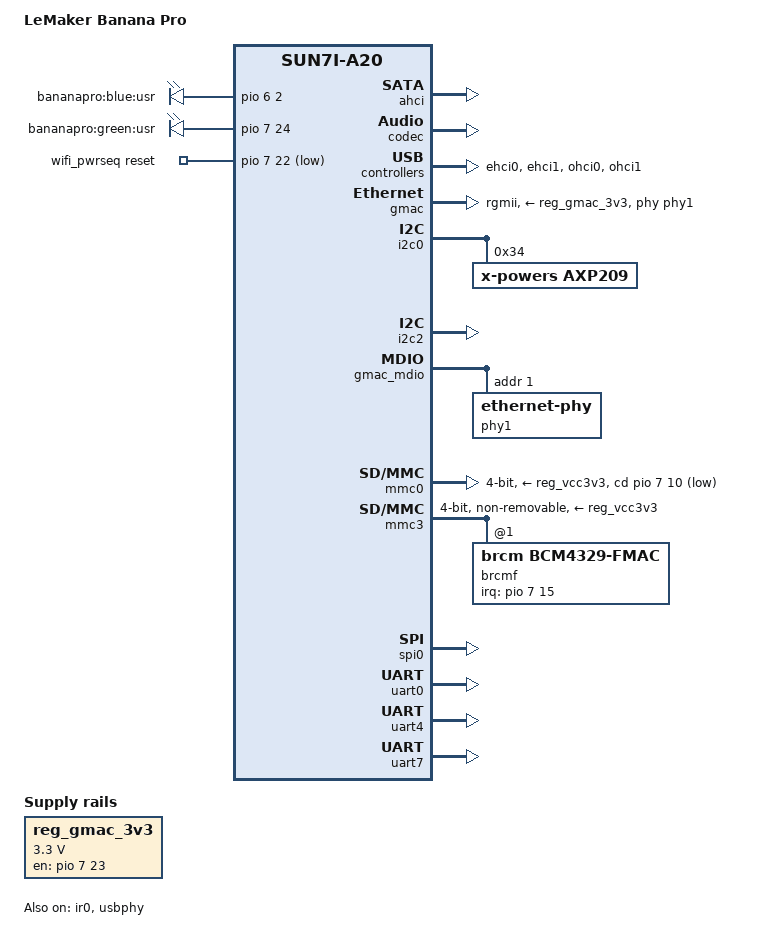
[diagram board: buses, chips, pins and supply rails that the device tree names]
/*
 * Copyright 2015 Hans de Goede <hdegoede@redhat.com>
 *
 * This file is dual-licensed: you can use it either under the terms
 * of the GPL or the X11 license, at your option. Note that this dual
 * licensing only applies to this file, and not this project as a
 * whole.
 *
 *  a) This file is free software; you can redistribute it and/or
 *     modify it under the terms of the GNU General Public License as
 *     published by the Free Software Foundation; either version 2 of the
 *     License, or (at your option) any later version.
 *
 *     This file is distributed in the hope that it will be useful,
 *     but WITHOUT ANY WARRANTY; without even the implied warranty of
 *     MERCHANTABILITY or FITNESS FOR A PARTICULAR PURPOSE.  See the
 *     GNU General Public License for more details.
 *
 * Or, alternatively,
 *
 *  b) Permission is hereby granted, free of charge, to any person
 *     obtaining a copy of this software and associated documentation
 *     files (the "Software"), to deal in the Software without
 *     restriction, including without limitation the rights to use,
 *     copy, modify, merge, publish, distribute, sublicense, and/or
 *     sell copies of the Software, and to permit persons to whom the
 *     Software is furnished to do so, subject to the following
 *     conditions:
 *
 *     The above copyright notice and this permission notice shall be
 *     included in all copies or substantial portions of the Software.
 *
 *     THE SOFTWARE IS PROVIDED "AS IS", WITHOUT WARRANTY OF ANY KIND,
 *     EXPRESS OR IMPLIED, INCLUDING BUT NOT LIMITED TO THE WARRANTIES
 *     OF MERCHANTABILITY, FITNESS FOR A PARTICULAR PURPOSE AND
 *     NONINFRINGEMENT. IN NO EVENT SHALL THE AUTHORS OR COPYRIGHT
 *     HOLDERS BE LIABLE FOR ANY CLAIM, DAMAGES OR OTHER LIABILITY,
 *     WHETHER IN AN ACTION OF CONTRACT, TORT OR OTHERWISE, ARISING
 *     FROM, OUT OF OR IN CONNECTION WITH THE SOFTWARE OR THE USE OR
 *     OTHER DEALINGS IN THE SOFTWARE.
 */

/dts-v1/;
#include "sun7i-a20.dtsi"
#include "sunxi-common-regulators.dtsi"
#include <dt-bindings/gpio/gpio.h>
#include <dt-bindings/interrupt-controller/arm-gic.h>

/ {
	model = "LeMaker Banana Pro";
	compatible = "lemaker,bananapro", "allwinner,sun7i-a20";

	aliases {
		serial0 = &uart0;
		serial1 = &uart4;
		serial2 = &uart7;
	};

	chosen {
		stdout-path = "serial0:115200n8";
	};

	leds {
		compatible = "gpio-leds";

		blue {
			label = "bananapro:blue:usr";
			gpios = <&pio 6 2 GPIO_ACTIVE_HIGH>;
		};

		green {
			label = "bananapro:green:usr";
			gpios = <&pio 7 24 GPIO_ACTIVE_HIGH>;
		};
	};

	wifi_pwrseq: wifi-pwrseq {
		compatible = "mmc-pwrseq-simple";
		reset-gpios = <&pio 7 22 GPIO_ACTIVE_LOW>;
	};

	reg_gmac_3v3: gmac-3v3 {
		compatible = "regulator-fixed";
		regulator-name = "gmac-3v3";
		regulator-min-microvolt = <3300000>;
		regulator-max-microvolt = <3300000>;
		startup-delay-us = <100000>;
		enable-active-high;
		gpio = <&pio 7 23 GPIO_ACTIVE_HIGH>;
	};
};

&ahci {
	status = "okay";
};

&codec {
	status = "okay";
};

&ehci0 {
	status = "okay";
};

&ehci1 {
	status = "okay";
};

&gmac {
	pinctrl-names = "default";
	pinctrl-0 = <&gmac_rgmii_pins>;
	phy-handle = <&phy1>;
	phy-mode = "rgmii";
	phy-supply = <&reg_gmac_3v3>;
	status = "okay";
};

&i2c0 {
	status = "okay";

	axp209: pmic@34 {
		compatible = "x-powers,axp209";
		reg = <0x34>;
		interrupt-parent = <&nmi_intc>;
		interrupts = <0 IRQ_TYPE_LEVEL_LOW>;

		interrupt-controller;
		#interrupt-cells = <1>;
	};
};

&i2c2 {
	status = "okay";
};

&ir0 {
	pinctrl-names = "default";
	pinctrl-0 = <&ir0_rx_pin>;
	status = "okay";
};

&gmac_mdio {
	phy1: ethernet-phy@1 {
		reg = <1>;
	};
};

&mmc0 {
	vmmc-supply = <&reg_vcc3v3>;
	bus-width = <4>;
	cd-gpios = <&pio 7 10 GPIO_ACTIVE_LOW>; /* PH10 */
	status = "okay";
};

&mmc3 {
	vmmc-supply = <&reg_vcc3v3>;
	mmc-pwrseq = <&wifi_pwrseq>;
	bus-width = <4>;
	non-removable;
	status = "okay";

	brcmf: wifi@1 {
		reg = <1>;
		compatible = "brcm,bcm4329-fmac";
		interrupt-parent = <&pio>;
		interrupts = <7 15 IRQ_TYPE_LEVEL_LOW>;
		interrupt-names = "host-wake";
	};
};

&ohci0 {
	status = "okay";
};

&ohci1 {
	status = "okay";
};

&reg_usb1_vbus {
	gpio = <&pio 7 0 GPIO_ACTIVE_HIGH>; /* PH0 */
	status = "okay";
};

&reg_usb2_vbus {
	gpio = <&pio 7 1 GPIO_ACTIVE_HIGH>; /* PH1 */
	status = "okay";
};

&spi0 {
	pinctrl-names = "default";
	pinctrl-0 = <&spi0_pi_pins>,
		    <&spi0_cs0_pi_pin>,
		    <&spi0_cs1_pi_pin>;
	status = "okay";
};

&uart0 {
	pinctrl-names = "default";
	pinctrl-0 = <&uart0_pb_pins>;
	status = "okay";
};

&uart4 {
	pinctrl-names = "default";
	pinctrl-0 = <&uart4_ph_pins>;
	status = "okay";
};

&uart7 {
	pinctrl-names = "default";
	pinctrl-0 = <&uart7_pi_pins>;
	status = "okay";
};

&usbphy {
	usb1_vbus-supply = <&reg_usb1_vbus>;
	usb2_vbus-supply = <&reg_usb2_vbus>;
	status = "okay";
};
